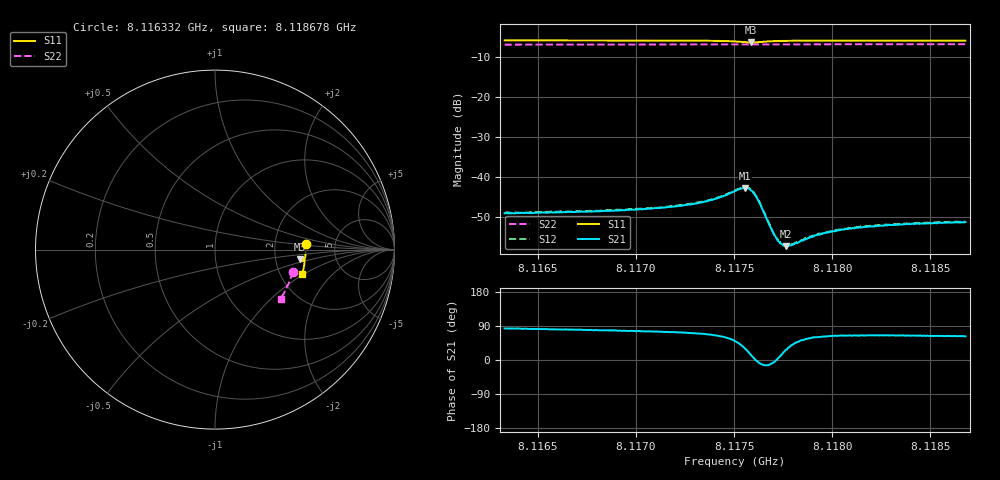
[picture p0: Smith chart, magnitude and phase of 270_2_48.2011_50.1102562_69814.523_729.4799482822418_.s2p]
#  HZ  S  RI  R  50.00
! Rohde & Schwarz Vector Network Analyzer
! Rohde-Schwarz,ZNB20-2Port,1311601062101988,3.16
! Created: UTC 3/20/2024, 11:48:08 AM
! freq[Hz]  re:S11  im:S11  re:S21  im:S21  re:S12  im:S12  re:S22  im:S22
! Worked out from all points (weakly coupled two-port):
!   401 points, 8.116332 GHz to 8.118678 GHz, reference 50 ohm
!   highest |S21| = -42.64 dB at 8.117558 GHz (marker M1); lowest = -57.2 dB at 8.117763 GHz (marker M2)
!   lowest |S11| = -6.4 dB at 8.117587 GHz (marker M3), VSWR 2.83, Z = 138 - j19.5 ohm
!   |S11| at or under -10 dB: nowhere
!   |S22| runs from -7.0 to -6.8 dB; largest |S21 - S12| = 0.0002
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8.1163319e9  0.5058 0.0335  0.000414 0.00353  0.000468 0.0036  0.4318 -0.1243
8.1167248e9  0.5063 0.00367  0.000654 0.00369  0.000743 0.00371  0.4245 -0.1505
8.1171178e9  0.5047 -0.0272  0.0011 0.004  0.00117 0.00404  0.4154 -0.1763
8.117323e9  0.5017 -0.0451  0.00167 0.00449  0.00175 0.00459  0.4102 -0.1897
8.1174169e9  0.4982 -0.0546  0.00242 0.00493  0.00249 0.00501  0.4075 -0.1959
8.1175048e9  0.489 -0.0633  0.00435 0.00516  0.00446 0.00519  0.4045 -0.2017
8.11754e9  0.4818 -0.0637  0.00574 0.00445  0.00591 0.00449  0.4032 -0.2036
8.1175576e9  0.4781 -0.0616  0.00643 0.00362  0.00657 0.00361  0.4027 -0.2046
8.1175869e9  0.4751 -0.0543  0.0067 0.00151  0.00685 0.00148  0.4016 -0.206
8.1176045e9  0.4767 -0.0495  0.00613 0.000308  0.00624 0.000248  0.4015 -0.2069
8.1176221e9  0.4804 -0.0467  0.00517 -0.000511  0.00528 -0.000542  0.4013 -0.2077
8.1176925e9  0.4937 -0.0503  0.00218 -0.000363  0.00221 -0.000389  0.3998 -0.2123
8.117716e9  0.4957 -0.0534  0.00172 1.86e-05  0.00177 1.08e-05  0.3991 -0.2139
8.1177394e9  0.4971 -0.0564  0.00145 0.000336  0.00146 0.000314  0.3983 -0.2155
8.1177629e9  0.4978 -0.0592  0.00123 0.000624  0.00128 0.000613  0.3977 -0.2169
8.1177922e9  0.4984 -0.0626  0.0011 0.000889  0.00116 0.000911  0.3967 -0.2187
8.1178978e9  0.4987 -0.0731  0.000929 0.00154  0.000979 0.00159  0.3935 -0.2255
8.1179271e9  0.4984 -0.0759  0.000942 0.00168  0.000962 0.00168  0.3925 -0.2275
8.1180385e9  0.4975 -0.0854  0.000961 0.00199  0.000973 0.00201  0.3888 -0.2344
8.1181558e9  0.4957 -0.0949  0.001 0.00216  0.00105 0.00221  0.3848 -0.2416
8.1182907e9  0.4937 -0.1053  0.00108 0.00231  0.0011 0.00231  0.38 -0.2498
8.1186778e9  0.4865 -0.1338  0.00128 0.00244  0.0013 0.00252  0.3653 -0.2726
